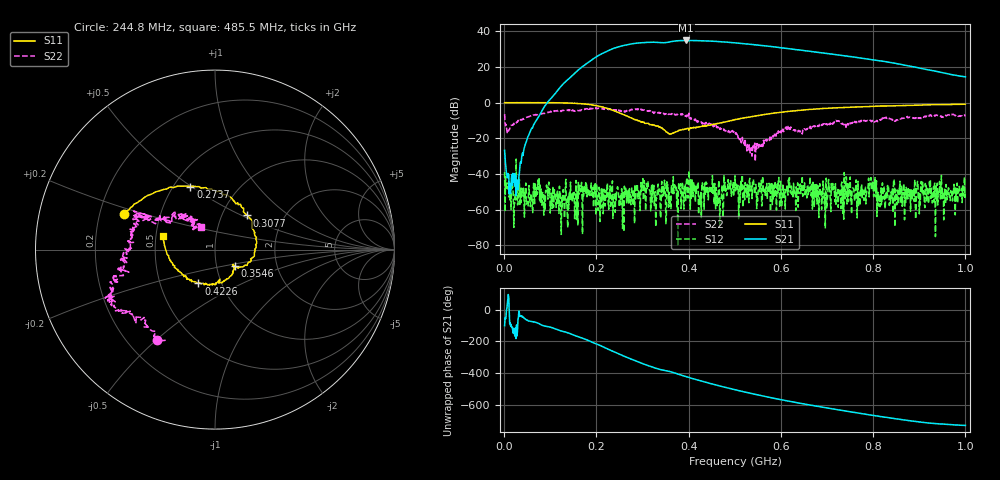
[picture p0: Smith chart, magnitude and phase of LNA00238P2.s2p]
! Created with skrf 1.9.0 (http://scikit-rf.org).
# Hz S RI R 50.0
!freq ReS11 ImS11 ReS21 ImS21 ReS12 ImS12 ReS22 ImS22
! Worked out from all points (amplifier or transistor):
!   1001 points, 1 MHz to 1 GHz, reference 50 ohm
!   highest |S21| = 34.9 dB at 394.6 MHz (marker M1)
!   |S21| within 3 dB of that: 256.4 MHz to 565.1 MHz (308.7 MHz wide, 75.2 % of centre)
!   unconditionally stable (mu >= 1): 3.577 MHz to 89.58 MHz; 229.9 MHz to 400.3 MHz; 401 MHz to end of sweep (the widest 3 of 32)
!   at 166.8 MHz: K = 1.86, MAG = 29.2 dB, |S12| = -49.6 dB
!   at 500.5 MHz: K = 1.20, MAG = 34.6 dB, |S12| = -41.1 dB
!   at 1 GHz: K = 4.57, MAG = 23.1 dB, |S12| = -50.8 dB
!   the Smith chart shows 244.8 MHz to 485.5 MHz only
!   S11 on the Smith chart (normalised r, x): 244.8 MHz: 0.30, +0.17; 273.7 MHz: 0.61, +0.50; 307.7 MHz: 1.31, +0.54; 354.6 MHz: 1.22, -0.22; 422.6 MHz: 0.78, -0.31; 485.5 MHz: 0.54, +0.09
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1000000  0.986 -0.00808  -0.00913 -0.0449  -0.0111 -0.00207  0.3476 0.3214
1.08892e8  0.5108 -0.8523  -0.8108 -1.496  -0.0028 0.00224  0.4405 -0.3519
1.67833e8  -0.2541 -0.8922  -9.814 -0.5266  0.00554 -0.00156  0.063 -0.6297
2.09791e8  -0.6825 -0.3591  -15.37 16.84  -0.000888 -0.000657  -0.1728 -0.6665
2.26774e8  -0.6663 -0.0647  -9.999 27.33  0.000461 -0.000906  -0.2508 -0.5962
2.44756e8  -0.5089 0.1994  1.843 35.82  -0.00258 -0.00276  -0.3227 -0.5048
2.73727e8  -0.1371 0.351  27.76 34  -0.00152 -0.00214  -0.5262 -0.3286
3.07693e8  0.1794 0.1904  47.62 11.41  -0.00208 -0.000889  -0.5696 -0.2102
3.34666e8  0.2123 -0.0428  47.56 -10.99  -0.00252 0.000983  -0.512 -0.0502
3.54646e8  0.1095 -0.0894  44.4 -21.39  -0.0042 0.00268  -0.4692 0.0634
3.71629e8  0.1067 -0.1067  41.42 -34.37  -0.00221 0.00292  -0.4327 0.1439
3.94606e8  0.0447 -0.1792  27.09 -48.45  0.00122 0.00497  -0.3894 0.1806
4.22578e8  -0.0925 -0.1887  5.163 -54.4  -0.00139 0.00193  -0.2287 0.207
4.5055e8  -0.2183 -0.1048  -15.03 -51.05  0.00228 0.00151  -0.1603 0.1837
4.85515e8  -0.2903 0.0759  -33.15 -36.57  0.00661 0.00194  -0.076 0.1271
5.005e8  -0.2942 0.1596  -38.24 -28.7  0.00357 0.00808  -0.0656 0.1102
5.4046e8  -0.1908 0.3638  -41.6 -7.772  0.00616 -0.00337  -0.0423 0.0292
5.88412e8  0.0276 0.5126  -34.26 11.81  0.000756 -0.00242  -0.0979 -0.0728
6.67333e8  0.4162 0.499  -12.84 23.62  -0.00262 -0.00498  -0.2123 -0.0566
7.53247e8  0.6936 0.2722  4.287 18.85  -0.000624 0.000406  -0.2639 0.00568
8.34166e8  0.8055 -0.00127  10.24 8.924  -0.00152 -0.00252  -0.3563 -0.0169
1e9  0.7224 -0.5411  5.255 -0.6503  -0.000675 0.0028  -0.3159 0.293
